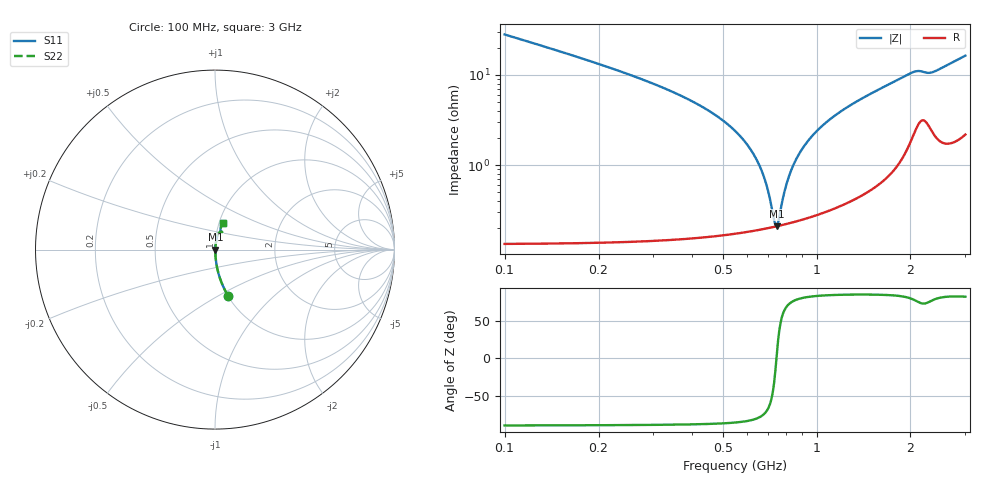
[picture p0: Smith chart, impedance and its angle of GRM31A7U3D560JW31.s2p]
!Murata Part Number: GRM31A7U3D560JW31
!These Parameters are Measured in Series Mode Connection
!Data Generated on Mar 30, 2021
!  o--ll--o
!Port1  Port2
!  o------o
!Operation Temp=25[degC], DC Bias Voltage=0[V]
!Freq. Start=100[MHz] Stop=3[GHz] 401[Steps]
# Hz S RI R 50
!Freq.(Hz) S11(Real) S11(Imag) S21(Real) S21(Imag) S12(Real) S12(Imag) S22(Real) S22(Imag)
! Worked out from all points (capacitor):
!   401 points, 100 MHz to 3 GHz, reference 50 ohm
!   read as one part in series: C = 56 pF near 114.5 MHz
!   lowest |Z| = 211 mohm at 745.2 MHz (marker M1)
!   series resonance near 743.8 MHz, so ESL is about 820 pH
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1e8  0.0734 -0.2583  0.9266 0.2583  0.9266 0.2583  0.0734 -0.2583
1.725e8  0.025 -0.1519  0.975 0.1519  0.975 0.1519  0.025 -0.1519
2.5225e8  0.0112 -0.0986  0.9888 0.0986  0.9888 0.0986  0.0112 -0.0986
4.77e8  0.00287 -0.0351  0.9971 0.0351  0.9971 0.0351  0.00287 -0.0351
5.8575e8  0.00214 -0.0185  0.9979 0.0185  0.9979 0.0185  0.00214 -0.0185
6.2925e8  0.00204 -0.0129  0.998 0.0129  0.998 0.0129  0.00204 -0.0129
6.655e8  0.00201 -0.00858  0.998 0.00858  0.998 0.00858  0.00201 -0.00858
6.945e8  0.00203 -0.00529  0.998 0.00529  0.998 0.00529  0.00203 -0.00529
7.3075e8  0.00207 -0.00136  0.9979 0.00136  0.9979 0.00136  0.00207 -0.00136
7.4525e8  0.0021 0.000152  0.9979 -0.000152  0.9979 -0.000152  0.0021 0.000152
7.5975e8  0.00214 0.00164  0.9979 -0.00164  0.9979 -0.00164  0.00214 0.00164
7.8875e8  0.00222 0.00454  0.9978 -0.00454  0.9978 -0.00454  0.00222 0.00454
8.105e8  0.0023 0.00665  0.9977 -0.00665  0.9977 -0.00665  0.0023 0.00665
8.6125e8  0.00251 0.0114  0.9975 -0.0114  0.9975 -0.0114  0.00251 0.0114
9.4825e8  0.00299 0.0191  0.997 -0.0191  0.997 -0.0191  0.00299 0.0191
1.0715e9  0.00389 0.0292  0.9961 -0.0292  0.9961 -0.0292  0.00389 0.0292
1.2745e9  0.00591 0.0447  0.9941 -0.0447  0.9941 -0.0447  0.00591 0.0447
1.55e9  0.01 0.0649  0.99 -0.0649  0.99 -0.0649  0.01 0.0649
2.03575e9  0.0305 0.0994  0.9695 -0.0994  0.9695 -0.0994  0.0305 0.0994
2.304e9  0.0349 0.0957  0.9651 -0.0957  0.9651 -0.0957  0.0349 0.0957
2.5215e9  0.0305 0.1123  0.9695 -0.1123  0.9695 -0.1123  0.0305 0.1123
3e9  0.0452 0.1508  0.9548 -0.1508  0.9548 -0.1508  0.0452 0.1508
